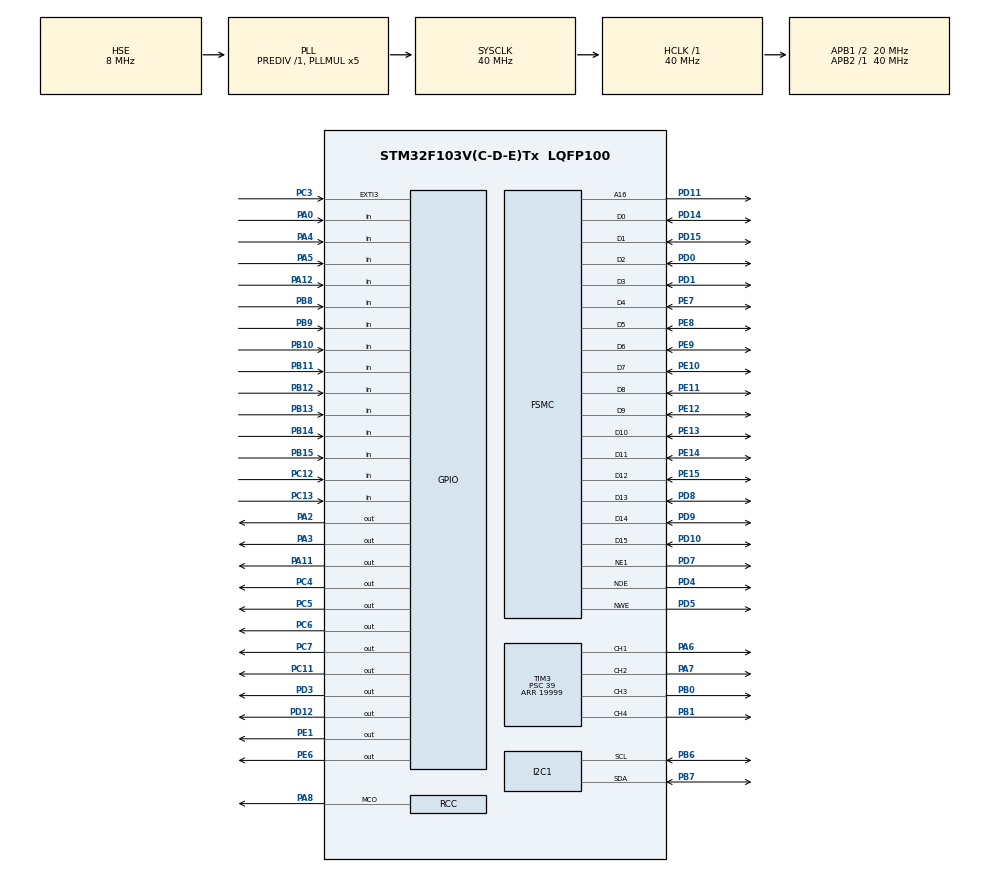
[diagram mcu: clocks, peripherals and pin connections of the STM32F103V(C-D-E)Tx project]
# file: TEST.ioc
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Mcu.Family=STM32F1
Mcu.Name=STM32F103V(C-D-E)Tx
Mcu.Package=LQFP100
NVIC.EXTI3_IRQn=true\:0\:0\:false\:false\:true\:true\:true\:true
NVIC.PriorityGroup=NVIC_PRIORITYGROUP_4
OSC_IN.Mode=HSE-External-Oscillator
OSC_IN.Signal=RCC_OSC_IN
OSC_OUT.Mode=HSE-External-Oscillator
OSC_OUT.Signal=RCC_OSC_OUT
PA0-WKUP.Signal=GPIO_Input
PA11.GPIO_Speed=GPIO_SPEED_FREQ_HIGH
PA11.PinState=GPIO_PIN_SET
PA11.Signal=GPIO_Output
PA12.GPIO_PuPd=GPIO_PULLDOWN
PA12.Signal=GPIO_Input
PA13.Mode=Serial_Wire
PA13.Signal=SYS_JTMS-SWDIO
PA14.Mode=Serial_Wire
PA14.Signal=SYS_JTCK-SWCLK
PA2.GPIO_Speed=GPIO_SPEED_FREQ_HIGH
PA2.Signal=GPIO_Output
PA3.GPIO_Speed=GPIO_SPEED_FREQ_HIGH
PA3.PinState=GPIO_PIN_RESET
PA3.Signal=GPIO_Output
PA4.GPIO_PuPd=GPIO_PULLDOWN
PA4.Signal=GPIO_Input
PA5.GPIO_PuPd=GPIO_PULLDOWN
PA5.Signal=GPIO_Input
PA6.Signal=S_TIM3_CH1
PA7.Signal=S_TIM3_CH2
PA8.GPIO_Speed=GPIO_SPEED_FREQ_HIGH
PA8.Mode=Clock-out
PA8.Signal=RCC_MCO
PB0.Signal=S_TIM3_CH3
PB1.Signal=S_TIM3_CH4
PB10.Signal=GPIO_Input
PB11.Signal=GPIO_Input
PB12.Signal=GPIO_Input
PB13.Signal=GPIO_Input
PB14.Signal=GPIO_Input
PB15.Signal=GPIO_Input
PB6.Mode=I2C
PB6.Signal=I2C1_SCL
PB7.Mode=I2C
PB7.Signal=I2C1_SDA
PB8.Signal=GPIO_Input
PB9.Signal=GPIO_Input
PC11.GPIO_Speed=GPIO_SPEED_FREQ_HIGH
PC11.Signal=GPIO_Output
PC12.GPIO_PuPd=GPIO_PULLDOWN
PC12.Signal=GPIO_Input
PC13-TAMPER-RTC.Signal=GPIO_Input
PC14-OSC32_IN.Mode=LSE-External-Oscillator
PC14-OSC32_IN.Signal=RCC_OSC32_IN
PC15-OSC32_OUT.Mode=LSE-External-Oscillator
PC15-OSC32_OUT.Signal=RCC_OSC32_OUT
PC3.GPIO_ModeDefaultEXTI=GPIO_MODE_IT_FALLING
PC3.Signal=GPXTI3
PC4.GPIO_Speed=GPIO_SPEED_FREQ_HIGH
PC4.Signal=GPIO_Output
PC5.GPIO_Speed=GPIO_SPEED_FREQ_HIGH
PC5.Signal=GPIO_Output
PC6.GPIO_ModeDefaultOutputPP=GPIO_MODE_OUTPUT_OD
PC6.GPIO_PuPd=GPIO_NOPULL
PC6.GPIO_Speed=GPIO_SPEED_FREQ_HIGH
PC6.Signal=GPIO_Output
PC7.GPIO_ModeDefaultOutputPP=GPIO_MODE_OUTPUT_OD
PC7.GPIO_Speed=GPIO_SPEED_FREQ_HIGH
PC7.Signal=GPIO_Output
PD0.Mode=16b-d1
PD0.Signal=FSMC_D2
PD1.Mode=16b-d1
PD1.Signal=FSMC_D3
PD10.Mode=16b-d1
PD10.Signal=FSMC_D15
PD11.Mode=A16_1
PD11.Signal=FSMC_A16
PD12.GPIO_Speed=GPIO_SPEED_FREQ_HIGH
PD12.PinState=GPIO_PIN_RESET
PD12.Signal=GPIO_Output
PD14.Mode=16b-d1
PD14.Signal=FSMC_D0
PD15.Mode=16b-d1
PD15.Signal=FSMC_D1
PD3.GPIO_Speed=GPIO_SPEED_FREQ_HIGH
PD3.Signal=GPIO_Output
PD4.Mode=Lcd1
PD4.Signal=FSMC_NOE
PD5.Mode=Lcd1
PD5.Signal=FSMC_NWE
PD7.Mode=NorPsramChipSelect1_1
PD7.Signal=FSMC_NE1
PD8.Mode=16b-d1
PD8.Signal=FSMC_D13
PD9.Mode=16b-d1
PD9.Signal=FSMC_D14
PE1.GPIO_Speed=GPIO_SPEED_FREQ_HIGH
PE1.PinState=GPIO_PIN_RESET
PE1.Signal=GPIO_Output
PE10.Mode=16b-d1
PE10.Signal=FSMC_D7
PE11.Mode=16b-d1
PE11.Signal=FSMC_D8
PE12.Mode=16b-d1
PE12.Signal=FSMC_D9
PE13.Mode=16b-d1
PE13.Signal=FSMC_D10
PE14.Mode=16b-d1
PE14.Signal=FSMC_D11
PE15.Mode=16b-d1
PE15.Signal=FSMC_D12
PE6.GPIO_Speed=GPIO_SPEED_FREQ_HIGH
PE6.Signal=GPIO_Output
PE7.Mode=16b-d1
PE7.Signal=FSMC_D4
PE8.Mode=16b-d1
PE8.Signal=FSMC_D5
PE9.Mode=16b-d1
PE9.Signal=FSMC_D6
ProjectManager.HeapSize=0x200
ProjectManager.StackSize=0x400
ProjectManager.TargetToolchain=STM32CubeIDE
RCC.AHBFreq_Value=40000000
RCC.APB1CLKDivider=RCC_HCLK_DIV2
RCC.APB1Freq_Value=20000000
RCC.APB1TimFreq_Value=40000000
RCC.APB2Freq_Value=40000000
RCC.APB2TimFreq_Value=40000000
RCC.HCLKFreq_Value=40000000
RCC.PLLMUL=RCC_PLL_MUL5
RCC.PLLSourceVirtual=RCC_PLLSOURCE_HSE
RCC.SYSCLKFreq_VALUE=40000000
RCC.SYSCLKSource=RCC_SYSCLKSOURCE_PLLCLK
RCC.USBFreq_Value=40000000
SH.S_TIM3_CH1.0=TIM3_CH1,PWM Generation1 CH1
SH.S_TIM3_CH2.0=TIM3_CH2,PWM Generation2 CH2
SH.S_TIM3_CH3.0=TIM3_CH3,PWM Generation3 CH3
SH.S_TIM3_CH4.0=TIM3_CH4,PWM Generation4 CH4
TIM3.Channel-PWM\ Generation1\ CH1=TIM_CHANNEL_1
TIM3.Channel-PWM\ Generation2\ CH2=TIM_CHANNEL_2
TIM3.Channel-PWM\ Generation3\ CH3=TIM_CHANNEL_3
TIM3.Channel-PWM\ Generation4\ CH4=TIM_CHANNEL_4
TIM3.Period=19999
TIM3.Prescaler=39
VP_TIM3_VS_ClockSourceINT.Mode=Internal
board=custom

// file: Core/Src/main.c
/* USER CODE BEGIN Header */
/**
  ******************************************************************************
  * @file           : main.c
  * @brief          : Main program body
  ******************************************************************************
  * @attention
  *
  * <h2><center>&copy; Copyright (c) 2019 STMicroelectronics.
  * All rights reserved.</center></h2>
  *
  * This software component is licensed by ST under BSD 3-Clause license,
  * the "License"; You may not use this file except in compliance with the
  * License. You may obtain a copy of the License at:
  *                        opensource.org/licenses/BSD-3-Clause
  *
  ******************************************************************************
  */
/* USER CODE END Header */
#include "main.h"

/* USER CODE BEGIN Includes */
#include "lcd.h"
#include "bsp_ov7725.h"
#include "bsp_sccb.h"
#include "math.h"
#include "stdio.h"

/* USER CODE END Includes */

 I2C_HandleTypeDef hi2c1;

TIM_HandleTypeDef htim3;

SRAM_HandleTypeDef hsram1;

void SystemClock_Config(void);
static void MX_GPIO_Init(void);
static void MX_FSMC_Init(void);
static void MX_I2C1_Init(void);
static void MX_TIM3_Init(void);
/* USER CODE BEGIN PFP */
volatile uint8_t Ov7725_vsync ;
/* USER CODE END PFP */

int main(void)
{

  /* MCU Configuration--------------------------------------------------------*/

  /* Reset of all peripherals, Initializes the Flash interface and the Systick. */
  HAL_Init();

  /* USER CODE BEGIN Init */
	uint8_t HMC5883L_Addr = 0x1E; uint8_t CRA = 0x70; uint8_t CRB = 0xA0;
	  uint8_t first = 0;
	  uint8_t initial_sx = 120;
	  uint8_t initial_lx = 140;
	  uint8_t initial_sy = 120;
	  uint8_t initial_ly = 140;
	  uint8_t offset = 0;
	  uint8_t capture = 0;
	  int16_t x, y, angle, degree1 = 1000, degree2 = 1000;
	  uint8_t autoMode = 0, c1, c2 = 0;
  /* USER CODE END Init */

  /* Configure the system clock */
  SystemClock_Config();

  /* Initialize all configured peripherals */
  MX_GPIO_Init();
  MX_FSMC_Init();
  MX_I2C1_Init();
  MX_TIM3_Init();
  /* USER CODE BEGIN 2 */

	LCD_INIT();
	HAL_I2C_Mem_Write(&hi2c1,HMC5883L_Addr<<1,0x00,1,&CRA,1,100);
	  HAL_I2C_Mem_Write(&hi2c1,HMC5883L_Addr<<1,0x01,1,&CRB,1,100);

  /* USER CODE END 2 */

  /* Infinite loop */
  /* USER CODE BEGIN WHILE */
	while(Ov7725_Init() != SUCCESS);
	Ov7725_vsync = 0;
	int a[2] = {0,0};
	HAL_TIM_PWM_Start(&htim3, TIM_CHANNEL_1);
	HAL_TIM_PWM_Start(&htim3, TIM_CHANNEL_2);
	HAL_TIM_PWM_Start(&htim3, TIM_CHANNEL_3);
	HAL_TIM_PWM_Start(&htim3, TIM_CHANNEL_4);
	__HAL_TIM_SET_COMPARE(&htim3, TIM_CHANNEL_1, degree1);
	__HAL_TIM_SET_COMPARE(&htim3, TIM_CHANNEL_2, degree2);
    __HAL_TIM_SET_COMPARE(&htim3, TIM_CHANNEL_3, 400);
    __HAL_TIM_SET_COMPARE(&htim3, TIM_CHANNEL_4, 10000);
	HAL_Delay(50);
	//uint16_t px = 0;
	//uint16_t py = 0;
	//char xv[5];
	//char yv[5];
	//LCD_DrawString(0,0,"Press the keys to chose the mode:");
	//LCD_DrawString(0,40,"K1 -> Auto mode");
	//LCD_DrawString(0,70,"K2 -> Manual mode");
	//HAL_Delay(2000);
	//bool state = true;
	//while (state)
	//{
	//}

  while (1)
  {
	  	    LCD_Cam_Gram();
	  	    if (first == 0)
	  	    {
	  	    	LCD_Clear(0,0,200,150,0xFFFF);
			    LCD_DrawString(0,0,"Manual Mode:");
			    LCD_DrawString(0,30,"Press the Switches");
			    first = first +1;
			    HAL_Delay(500);
	  	    }
			if (HAL_GPIO_ReadPin(GPIOA, GPIO_PIN_0) == 1)
			  {
				  autoMode = (autoMode+1)%2;
				  if (autoMode == 0)
				  {
					  LCD_Clear(0,0,200,150,0xFFFF);
					  LCD_DrawString(0,0,"Manual Mode:");
					  LCD_DrawString(0,30,"Press the Switches");
					  HAL_Delay(500);
				  }
				  else
				  {
					  LCD_Clear(0,0,200,150,0xFFFF);
					  LCD_DrawString(0,0,"Auto Mode:");
					  LCD_DrawString(0,30,"Use the Laser");
					  HAL_Delay(500);
				  }
			  }
			if(!autoMode)
			  {
				if(HAL_GPIO_ReadPin(GPIOA, GPIO_PIN_4) == 1){ //up
					 degree1+=50;
					HAL_Delay(150);
				}
			    else if(HAL_GPIO_ReadPin(GPIOA, GPIO_PIN_5) == 1){ //down
					 degree1-=50;
					HAL_Delay(150);
				}
			    else if(HAL_GPIO_ReadPin(GPIOA, GPIO_PIN_12) == 1){ //left
					degree2-=50;
					HAL_Delay(150);
				}
			    else if(HAL_GPIO_ReadPin(GPIOC, GPIO_PIN_12) == 1){ //right
					degree2+=50;
					HAL_Delay(100);
				}

				//HAL_GPIO_WritePin(GPIOE, GPIO_PIN_6, GPIO_PIN_SET);
				  HAL_TIM_PWM_Start(&htim3, TIM_CHANNEL_1);
				  HAL_TIM_PWM_Start(&htim3, TIM_CHANNEL_2);
				  //HAL_TIM_PWM_Start(&htim3, TIM_CHANNEL_4);
				  __HAL_TIM_SET_COMPARE(&htim3, TIM_CHANNEL_1, degree1);
				  __HAL_TIM_SET_COMPARE(&htim3, TIM_CHANNEL_2, degree2);
//				  __HAL_TIM_SET_COMPARE(&htim3, TIM_CHANNEL_4, 20000);
				  if (HAL_GPIO_ReadPin(GPIOC, GPIO_PIN_13) == 1)
				  {
					  HAL_GPIO_WritePin(GPIOE, GPIO_PIN_6, GPIO_PIN_SET);
					HAL_Delay(1000);
					HAL_TIM_PWM_Start(&htim3, TIM_CHANNEL_3);
					__HAL_TIM_SET_COMPARE(&htim3, TIM_CHANNEL_3, 200);
					HAL_Delay(100);
					HAL_TIM_PWM_Start(&htim3, TIM_CHANNEL_3);
					__HAL_TIM_SET_COMPARE(&htim3, TIM_CHANNEL_3, 900);
					HAL_Delay(1000);
					HAL_TIM_PWM_Start(&htim3, TIM_CHANNEL_3);
					__HAL_TIM_SET_COMPARE(&htim3, TIM_CHANNEL_3, 400);
					HAL_GPIO_WritePin(GPIOE, GPIO_PIN_6, GPIO_PIN_RESET);
				  }
//				  HAL_TIM_PWM_Start(&htim3, TIM_CHANNEL_3);
//					__HAL_TIM_SET_COMPARE(&htim3, TIM_CHANNEL_3, 1000);
//					HAL_Delay(1000);
//					HAL_TIM_PWM_Start(&htim3, TIM_CHANNEL_3);
//					__HAL_TIM_SET_COMPARE(&htim3, TIM_CHANNEL_3, 600);
			  }
			else
			  {
				//HAL_GPIO_WritePin(GPIOE, GPIO_PIN_6, GPIO_PIN_RESET);
				if (Ov7725_vsync == 2)
				{
				  FIFO_PREPARE;
				  ImagDisp(a,capture);
				  capture = (capture+1)%2;
				  Ov7725_vsync = 0;
			    }
				if (capture)
				{
					if ((a[0] && a[1]) &&((a[0] >= initial_lx + offset) || (a[0] <= initial_sx - offset) || (a[1] >= initial_ly + offset) || (a[1] <= initial_sy - offset)))
					{
						if (a[0] >= initial_lx + offset)
							degree1 -= 20;
						else if (a[0] <= initial_sx - offset)
							degree1 += 20;
						if (a[1] >= initial_ly + offset)
							degree2 -= 20;
						else if (a[1] <= initial_sy - offset)
							degree2 += 20;
						HAL_Delay(100);
						HAL_TIM_PWM_Start(&htim3, TIM_CHANNEL_1);
						HAL_TIM_PWM_Start(&htim3, TIM_CHANNEL_2);
	//				    if (degree1 < 2000)
	//				    	degree1 += 100;
		//			    if (degree1 == 1000 || degree1 == 2000)
		//			    {
		//				  c1 = (c1+1)%2;
		//			    }
		//			    if (degree2 == 1000 || degree2 == 2000)
		//			    {
		//				    c2 = (c2+1)%2;
		//			    }
		//			    if (c1) degree1 += 100;
		//			    else degree1 -= 100;
		//			    if (c2) degree2 += 100;
		//			    else degree2 -= 100;
						__HAL_TIM_SET_COMPARE(&htim3, TIM_CHANNEL_1, degree1);
						__HAL_TIM_SET_COMPARE(&htim3, TIM_CHANNEL_2, degree2);
						HAL_Delay(60);
					}
//					if(1)
					if ((a[0] < initial_lx + offset) && (a[0] > initial_sx - offset) && (a[1] < initial_ly + offset) && (a[1] > initial_sy - offset))
					{
						LCD_Clear(0,0,160,120,0xFFFF);
						LCD_DrawString(0,40,"Target Found");
						HAL_GPIO_WritePin(GPIOE, GPIO_PIN_6, GPIO_PIN_SET);
						HAL_Delay(1000);
						HAL_TIM_PWM_Start(&htim3, TIM_CHANNEL_3);
						__HAL_TIM_SET_COMPARE(&htim3, TIM_CHANNEL_3, 200);
						HAL_Delay(100);
						HAL_TIM_PWM_Start(&htim3, TIM_CHANNEL_3);
						__HAL_TIM_SET_COMPARE(&htim3, TIM_CHANNEL_3, 900);
						HAL_Delay(1000);
						HAL_TIM_PWM_Start(&htim3, TIM_CHANNEL_3);
						__HAL_TIM_SET_COMPARE(&htim3, TIM_CHANNEL_3, 400);
						HAL_GPIO_WritePin(GPIOE, GPIO_PIN_6, GPIO_PIN_RESET);
					}
				}
			  }
			//uint16_t i, j;
			//uint16_t Camera_Data;
			//uint16_t x = 0;

			//LCD_Cam_Gram();

			//for(i = 0; i < 240; i++)
			//{
				//for(j = 0; j < 320; j++)
				//{
					//READ_FIFO_PIXEL(Camera_Data);
					//if (LCD_GetPointPixel(j,i)== 0xF800)
					//{
						//px = i;
						//py = j;
						//break;
					//}
				//}
				//if (px && py)
					//break;

			//}
			//if (px && py)
			//{
				//LCD_Clear(0,0,320,240,0xFFFF);
				//LCD_DrawString(0,40,"x_value : ");
			    //LCD_DrawString(0,70,"y_value : ");
			    //sprintf(xv,"%d",py);
			    //LCD_DrawString(80,40,xv);
			    //sprintf(yv,"%d",px);
			    //LCD_DrawString(80,70,yv);
			    //LCD_DrawChar(py,px,'D');
			    //HAL_Delay(3000);
//			    px = 0;
//			    py = 0;

			//}
		//}

    /* USER CODE END WHILE */

  }
}

void SystemClock_Config(void)
{
  RCC_OscInitTypeDef RCC_OscInitStruct = {0};
  RCC_ClkInitTypeDef RCC_ClkInitStruct = {0};

  /** Initializes the RCC Oscillators according to the specified parameters
  * in the RCC_OscInitTypeDef structure.
  */
  RCC_OscInitStruct.OscillatorType = RCC_OSCILLATORTYPE_HSE;
  RCC_OscInitStruct.HSEState = RCC_HSE_ON;
  RCC_OscInitStruct.HSEPredivValue = RCC_HSE_PREDIV_DIV1;
  RCC_OscInitStruct.HSIState = RCC_HSI_ON;
  RCC_OscInitStruct.PLL.PLLState = RCC_PLL_ON;
  RCC_OscInitStruct.PLL.PLLSource = RCC_PLLSOURCE_HSE;
  RCC_OscInitStruct.PLL.PLLMUL = RCC_PLL_MUL5;
  if (HAL_RCC_OscConfig(&RCC_OscInitStruct) != HAL_OK)
  {
    Error_Handler();
  }

  /** Initializes the CPU, AHB and APB buses clocks
  */
  RCC_ClkInitStruct.ClockType = RCC_CLOCKTYPE_HCLK|RCC_CLOCKTYPE_SYSCLK
                              |RCC_CLOCKTYPE_PCLK1|RCC_CLOCKTYPE_PCLK2;
  RCC_ClkInitStruct.SYSCLKSource = RCC_SYSCLKSOURCE_PLLCLK;
  RCC_ClkInitStruct.AHBCLKDivider = RCC_SYSCLK_DIV1;
  RCC_ClkInitStruct.APB1CLKDivider = RCC_HCLK_DIV2;
  RCC_ClkInitStruct.APB2CLKDivider = RCC_HCLK_DIV1;

  if (HAL_RCC_ClockConfig(&RCC_ClkInitStruct, FLASH_LATENCY_1) != HAL_OK)
  {
    Error_Handler();
  }
  HAL_RCC_MCOConfig(RCC_MCO, RCC_MCO1SOURCE_SYSCLK, RCC_MCODIV_1);
}

static void MX_I2C1_Init(void)
{

  hi2c1.Instance = I2C1;
  hi2c1.Init.ClockSpeed = 100000;
  hi2c1.Init.DutyCycle = I2C_DUTYCYCLE_2;
  hi2c1.Init.OwnAddress1 = 0;
  hi2c1.Init.AddressingMode = I2C_ADDRESSINGMODE_7BIT;
  hi2c1.Init.DualAddressMode = I2C_DUALADDRESS_DISABLE;
  hi2c1.Init.OwnAddress2 = 0;
  hi2c1.Init.GeneralCallMode = I2C_GENERALCALL_DISABLE;
  hi2c1.Init.NoStretchMode = I2C_NOSTRETCH_DISABLE;
  if (HAL_I2C_Init(&hi2c1) != HAL_OK)
  {
    Error_Handler();
  }

}

static void MX_TIM3_Init(void)
{

  TIM_ClockConfigTypeDef sClockSourceConfig = {0};
  TIM_MasterConfigTypeDef sMasterConfig = {0};
  TIM_OC_InitTypeDef sConfigOC = {0};

  htim3.Instance = TIM3;
  htim3.Init.Prescaler = 39;
  htim3.Init.CounterMode = TIM_COUNTERMODE_UP;
  htim3.Init.Period = 19999;
  htim3.Init.ClockDivision = TIM_CLOCKDIVISION_DIV1;
  htim3.Init.AutoReloadPreload = TIM_AUTORELOAD_PRELOAD_DISABLE;
  if (HAL_TIM_Base_Init(&htim3) != HAL_OK)
  {
    Error_Handler();
  }
  sClockSourceConfig.ClockSource = TIM_CLOCKSOURCE_INTERNAL;
  if (HAL_TIM_ConfigClockSource(&htim3, &sClockSourceConfig) != HAL_OK)
  {
    Error_Handler();
  }
  if (HAL_TIM_PWM_Init(&htim3) != HAL_OK)
  {
    Error_Handler();
  }
  sMasterConfig.MasterOutputTrigger = TIM_TRGO_RESET;
  sMasterConfig.MasterSlaveMode = TIM_MASTERSLAVEMODE_DISABLE;
  if (HAL_TIMEx_MasterConfigSynchronization(&htim3, &sMasterConfig) != HAL_OK)
  {
    Error_Handler();
  }
  sConfigOC.OCMode = TIM_OCMODE_PWM1;
  sConfigOC.Pulse = 0;
  sConfigOC.OCPolarity = TIM_OCPOLARITY_HIGH;
  sConfigOC.OCFastMode = TIM_OCFAST_DISABLE;
  if (HAL_TIM_PWM_ConfigChannel(&htim3, &sConfigOC, TIM_CHANNEL_1) != HAL_OK)
  {
    Error_Handler();
  }
  if (HAL_TIM_PWM_ConfigChannel(&htim3, &sConfigOC, TIM_CHANNEL_2) != HAL_OK)
  {
    Error_Handler();
  }
  if (HAL_TIM_PWM_ConfigChannel(&htim3, &sConfigOC, TIM_CHANNEL_3) != HAL_OK)
  {
    Error_Handler();
  }
  if (HAL_TIM_PWM_ConfigChannel(&htim3, &sConfigOC, TIM_CHANNEL_4) != HAL_OK)
  {
    Error_Handler();
  }
  HAL_TIM_MspPostInit(&htim3);

}

static void MX_GPIO_Init(void)
{
  GPIO_InitTypeDef GPIO_InitStruct = {0};

  /* GPIO Ports Clock Enable */
  __HAL_RCC_GPIOE_CLK_ENABLE();
  __HAL_RCC_GPIOC_CLK_ENABLE();
  __HAL_RCC_GPIOA_CLK_ENABLE();
  __HAL_RCC_GPIOB_CLK_ENABLE();
  __HAL_RCC_GPIOD_CLK_ENABLE();

  /*Configure GPIO pin Output Level */
  HAL_GPIO_WritePin(GPIOE, GPIO_PIN_6|GPIO_PIN_1, GPIO_PIN_RESET);

  /*Configure GPIO pin Output Level */
  HAL_GPIO_WritePin(GPIOA, GPIO_PIN_2|GPIO_PIN_3, GPIO_PIN_RESET);

  /*Configure GPIO pin Output Level */
  HAL_GPIO_WritePin(GPIOC, GPIO_PIN_4|GPIO_PIN_5|GPIO_PIN_6|GPIO_PIN_7
                          |GPIO_PIN_11, GPIO_PIN_RESET);

  /*Configure GPIO pin Output Level */
  HAL_GPIO_WritePin(GPIOD, GPIO_PIN_12|GPIO_PIN_3, GPIO_PIN_RESET);

  /*Configure GPIO pin Output Level */
  HAL_GPIO_WritePin(GPIOA, GPIO_PIN_11, GPIO_PIN_SET);

  /*Configure GPIO pins : PE6 PE1 */
  GPIO_InitStruct.Pin = GPIO_PIN_6|GPIO_PIN_1;
  GPIO_InitStruct.Mode = GPIO_MODE_OUTPUT_PP;
  GPIO_InitStruct.Pull = GPIO_NOPULL;
  GPIO_InitStruct.Speed = GPIO_SPEED_FREQ_HIGH;
  HAL_GPIO_Init(GPIOE, &GPIO_InitStruct);

  /*Configure GPIO pin : PC13 */
  GPIO_InitStruct.Pin = GPIO_PIN_13;
  GPIO_InitStruct.Mode = GPIO_MODE_INPUT;
  GPIO_InitStruct.Pull = GPIO_NOPULL;
  HAL_GPIO_Init(GPIOC, &GPIO_InitStruct);

  /*Configure GPIO pin : PC3 */
  GPIO_InitStruct.Pin = GPIO_PIN_3;
  GPIO_InitStruct.Mode = GPIO_MODE_IT_FALLING;
  GPIO_InitStruct.Pull = GPIO_NOPULL;
  HAL_GPIO_Init(GPIOC, &GPIO_InitStruct);

  /*Configure GPIO pin : PA0 */
  GPIO_InitStruct.Pin = GPIO_PIN_0;
  GPIO_InitStruct.Mode = GPIO_MODE_INPUT;
  GPIO_InitStruct.Pull = GPIO_NOPULL;
  HAL_GPIO_Init(GPIOA, &GPIO_InitStruct);

  /*Configure GPIO pins : PA2 PA3 PA11 */
  GPIO_InitStruct.Pin = GPIO_PIN_2|GPIO_PIN_3|GPIO_PIN_11;
  GPIO_InitStruct.Mode = GPIO_MODE_OUTPUT_PP;
  GPIO_InitStruct.Pull = GPIO_NOPULL;
  GPIO_InitStruct.Speed = GPIO_SPEED_FREQ_HIGH;
  HAL_GPIO_Init(GPIOA, &GPIO_InitStruct);

  /*Configure GPIO pins : PA4 PA5 PA12 */
  GPIO_InitStruct.Pin = GPIO_PIN_4|GPIO_PIN_5|GPIO_PIN_12;
  GPIO_InitStruct.Mode = GPIO_MODE_INPUT;
  GPIO_InitStruct.Pull = GPIO_PULLDOWN;
  HAL_GPIO_Init(GPIOA, &GPIO_InitStruct);

  /*Configure GPIO pins : PC4 PC5 PC11 */
  GPIO_InitStruct.Pin = GPIO_PIN_4|GPIO_PIN_5|GPIO_PIN_11;
  GPIO_InitStruct.Mode = GPIO_MODE_OUTPUT_PP;
  GPIO_InitStruct.Pull = GPIO_NOPULL;
  GPIO_InitStruct.Speed = GPIO_SPEED_FREQ_HIGH;
  HAL_GPIO_Init(GPIOC, &GPIO_InitStruct);

  /*Configure GPIO pins : PB10 PB11 PB12 PB13
                           PB14 PB15 PB8 PB9 */
  GPIO_InitStruct.Pin = GPIO_PIN_10|GPIO_PIN_11|GPIO_PIN_12|GPIO_PIN_13
                          |GPIO_PIN_14|GPIO_PIN_15|GPIO_PIN_8|GPIO_PIN_9;
  GPIO_InitStruct.Mode = GPIO_MODE_INPUT;
  GPIO_InitStruct.Pull = GPIO_NOPULL;
  HAL_GPIO_Init(GPIOB, &GPIO_InitStruct);

  /*Configure GPIO pins : PD12 PD3 */
  GPIO_InitStruct.Pin = GPIO_PIN_12|GPIO_PIN_3;
  GPIO_InitStruct.Mode = GPIO_MODE_OUTPUT_PP;
  GPIO_InitStruct.Pull = GPIO_NOPULL;
  GPIO_InitStruct.Speed = GPIO_SPEED_FREQ_HIGH;
  HAL_GPIO_Init(GPIOD, &GPIO_InitStruct);

  /*Configure GPIO pins : PC6 PC7 */
  GPIO_InitStruct.Pin = GPIO_PIN_6|GPIO_PIN_7;
  GPIO_InitStruct.Mode = GPIO_MODE_OUTPUT_OD;
  GPIO_InitStruct.Pull = GPIO_NOPULL;
  GPIO_InitStruct.Speed = GPIO_SPEED_FREQ_HIGH;
  HAL_GPIO_Init(GPIOC, &GPIO_InitStruct);

  /*Configure GPIO pin : PA8 */
  GPIO_InitStruct.Pin = GPIO_PIN_8;
  GPIO_InitStruct.Mode = GPIO_MODE_AF_PP;
  GPIO_InitStruct.Speed = GPIO_SPEED_FREQ_HIGH;
  HAL_GPIO_Init(GPIOA, &GPIO_InitStruct);

  /*Configure GPIO pin : PC12 */
  GPIO_InitStruct.Pin = GPIO_PIN_12;
  GPIO_InitStruct.Mode = GPIO_MODE_INPUT;
  GPIO_InitStruct.Pull = GPIO_PULLDOWN;
  HAL_GPIO_Init(GPIOC, &GPIO_InitStruct);

  /* EXTI interrupt init*/
  HAL_NVIC_SetPriority(EXTI3_IRQn, 0, 0);
  HAL_NVIC_EnableIRQ(EXTI3_IRQn);

}

/* FSMC initialization function */
static void MX_FSMC_Init(void)
{

  FSMC_NORSRAM_TimingTypeDef Timing = {0};

  /** Perform the SRAM1 memory initialization sequence
  */
  hsram1.Instance = FSMC_NORSRAM_DEVICE;
  hsram1.Extended = FSMC_NORSRAM_EXTENDED_DEVICE;
  /* hsram1.Init */
  hsram1.Init.NSBank = FSMC_NORSRAM_BANK1;
  hsram1.Init.DataAddressMux = FSMC_DATA_ADDRESS_MUX_DISABLE;
  hsram1.Init.MemoryType = FSMC_MEMORY_TYPE_SRAM;
  hsram1.Init.MemoryDataWidth = FSMC_NORSRAM_MEM_BUS_WIDTH_16;
  hsram1.Init.BurstAccessMode = FSMC_BURST_ACCESS_MODE_DISABLE;
  hsram1.Init.WaitSignalPolarity = FSMC_WAIT_SIGNAL_POLARITY_LOW;
  hsram1.Init.WrapMode = FSMC_WRAP_MODE_DISABLE;
  hsram1.Init.WaitSignalActive = FSMC_WAIT_TIMING_BEFORE_WS;
  hsram1.Init.WriteOperation = FSMC_WRITE_OPERATION_ENABLE;
  hsram1.Init.WaitSignal = FSMC_WAIT_SIGNAL_DISABLE;
  hsram1.Init.ExtendedMode = FSMC_EXTENDED_MODE_DISABLE;
  hsram1.Init.AsynchronousWait = FSMC_ASYNCHRONOUS_WAIT_DISABLE;
  hsram1.Init.WriteBurst = FSMC_WRITE_BURST_DISABLE;
  /* Timing */
  Timing.AddressSetupTime = 15;
  Timing.AddressHoldTime = 15;
  Timing.DataSetupTime = 255;
  Timing.BusTurnAroundDuration = 15;
  Timing.CLKDivision = 16;
  Timing.DataLatency = 17;
  Timing.AccessMode = FSMC_ACCESS_MODE_A;
  /* ExtTiming */

  if (HAL_SRAM_Init(&hsram1, &Timing, NULL) != HAL_OK)
  {
    Error_Handler( );
  }

  /** Disconnect NADV
  */

  __HAL_AFIO_FSMCNADV_DISCONNECTED();

}

void Error_Handler(void)
{
}
